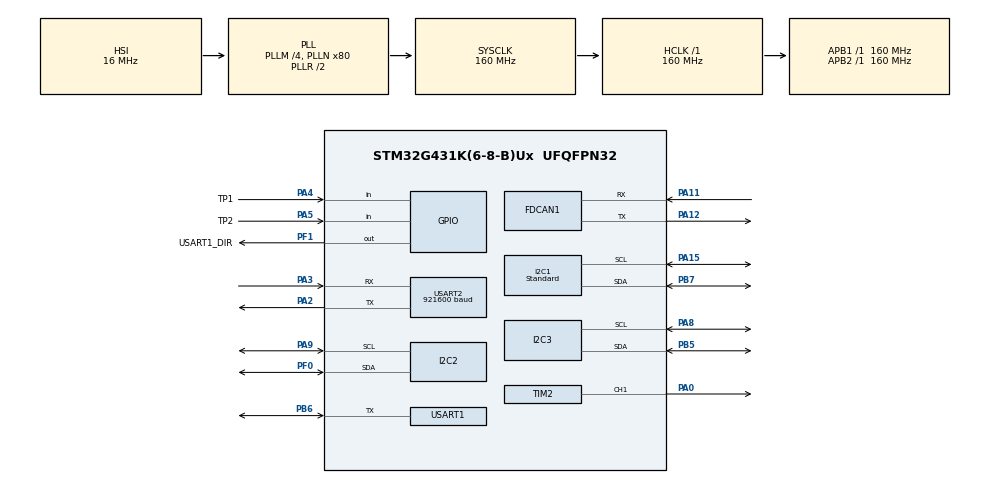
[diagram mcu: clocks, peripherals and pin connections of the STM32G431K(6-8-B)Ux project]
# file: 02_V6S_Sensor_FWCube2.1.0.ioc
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Dma.I2C1_RX.4.Direction=DMA_PERIPH_TO_MEMORY
Dma.I2C1_RX.4.EventEnable=DISABLE
Dma.I2C1_RX.4.Instance=DMA1_Channel5
Dma.I2C1_RX.4.MemDataAlignment=DMA_MDATAALIGN_BYTE
Dma.I2C1_RX.4.MemInc=DMA_MINC_ENABLE
Dma.I2C1_RX.4.Mode=DMA_NORMAL
Dma.I2C1_RX.4.PeriphDataAlignment=DMA_PDATAALIGN_BYTE
Dma.I2C1_RX.4.PeriphInc=DMA_PINC_DISABLE
Dma.I2C1_RX.4.Polarity=HAL_DMAMUX_REQ_GEN_RISING
Dma.I2C1_RX.4.Priority=DMA_PRIORITY_LOW
Dma.I2C1_RX.4.RequestNumber=1
Dma.I2C1_RX.4.SignalID=NONE
Dma.I2C1_RX.4.SyncEnable=DISABLE
Dma.I2C1_RX.4.SyncPolarity=HAL_DMAMUX_SYNC_NO_EVENT
Dma.I2C1_RX.4.SyncRequestNumber=1
Dma.I2C1_RX.4.SyncSignalID=NONE
Dma.I2C1_TX.5.Direction=DMA_MEMORY_TO_PERIPH
Dma.I2C1_TX.5.EventEnable=DISABLE
Dma.I2C1_TX.5.Instance=DMA1_Channel6
Dma.I2C1_TX.5.MemDataAlignment=DMA_MDATAALIGN_BYTE
Dma.I2C1_TX.5.MemInc=DMA_MINC_ENABLE
Dma.I2C1_TX.5.Mode=DMA_NORMAL
Dma.I2C1_TX.5.PeriphDataAlignment=DMA_PDATAALIGN_BYTE
Dma.I2C1_TX.5.PeriphInc=DMA_PINC_DISABLE
Dma.I2C1_TX.5.Polarity=HAL_DMAMUX_REQ_GEN_RISING
Dma.I2C1_TX.5.Priority=DMA_PRIORITY_LOW
Dma.I2C1_TX.5.RequestNumber=1
Dma.I2C1_TX.5.SignalID=NONE
Dma.I2C1_TX.5.SyncEnable=DISABLE
Dma.I2C1_TX.5.SyncPolarity=HAL_DMAMUX_SYNC_NO_EVENT
Dma.I2C1_TX.5.SyncRequestNumber=1
Dma.I2C1_TX.5.SyncSignalID=NONE
Dma.I2C2_RX.2.Direction=DMA_PERIPH_TO_MEMORY
Dma.I2C2_RX.2.EventEnable=DISABLE
Dma.I2C2_RX.2.Instance=DMA1_Channel3
Dma.I2C2_RX.2.MemDataAlignment=DMA_MDATAALIGN_BYTE
Dma.I2C2_RX.2.MemInc=DMA_MINC_ENABLE
Dma.I2C2_RX.2.Mode=DMA_NORMAL
Dma.I2C2_RX.2.PeriphDataAlignment=DMA_PDATAALIGN_BYTE
Dma.I2C2_RX.2.PeriphInc=DMA_PINC_DISABLE
Dma.I2C2_RX.2.Polarity=HAL_DMAMUX_REQ_GEN_RISING
Dma.I2C2_RX.2.Priority=DMA_PRIORITY_LOW
Dma.I2C2_RX.2.RequestNumber=1
Dma.I2C2_RX.2.SignalID=NONE
Dma.I2C2_RX.2.SyncEnable=DISABLE
Dma.I2C2_RX.2.SyncPolarity=HAL_DMAMUX_SYNC_NO_EVENT
Dma.I2C2_RX.2.SyncRequestNumber=1
Dma.I2C2_RX.2.SyncSignalID=NONE
Dma.I2C2_TX.3.Direction=DMA_MEMORY_TO_PERIPH
Dma.I2C2_TX.3.EventEnable=DISABLE
Dma.I2C2_TX.3.Instance=DMA1_Channel4
Dma.I2C2_TX.3.MemDataAlignment=DMA_MDATAALIGN_BYTE
Dma.I2C2_TX.3.MemInc=DMA_MINC_ENABLE
Dma.I2C2_TX.3.Mode=DMA_NORMAL
Dma.I2C2_TX.3.PeriphDataAlignment=DMA_PDATAALIGN_BYTE
Dma.I2C2_TX.3.PeriphInc=DMA_PINC_DISABLE
Dma.I2C2_TX.3.Polarity=HAL_DMAMUX_REQ_GEN_RISING
Dma.I2C2_TX.3.Priority=DMA_PRIORITY_LOW
Dma.I2C2_TX.3.RequestNumber=1
Dma.I2C2_TX.3.SignalID=NONE
Dma.I2C2_TX.3.SyncEnable=DISABLE
Dma.I2C2_TX.3.SyncPolarity=HAL_DMAMUX_SYNC_NO_EVENT
Dma.I2C2_TX.3.SyncRequestNumber=1
Dma.I2C2_TX.3.SyncSignalID=NONE
Dma.I2C3_RX.0.Direction=DMA_PERIPH_TO_MEMORY
Dma.I2C3_RX.0.EventEnable=DISABLE
Dma.I2C3_RX.0.Instance=DMA1_Channel1
Dma.I2C3_RX.0.MemDataAlignment=DMA_MDATAALIGN_BYTE
Dma.I2C3_RX.0.MemInc=DMA_MINC_ENABLE
Dma.I2C3_RX.0.Mode=DMA_NORMAL
Dma.I2C3_RX.0.PeriphDataAlignment=DMA_PDATAALIGN_BYTE
Dma.I2C3_RX.0.PeriphInc=DMA_PINC_DISABLE
Dma.I2C3_RX.0.Polarity=HAL_DMAMUX_REQ_GEN_RISING
Dma.I2C3_RX.0.Priority=DMA_PRIORITY_LOW
Dma.I2C3_RX.0.RequestNumber=1
Dma.I2C3_RX.0.SignalID=NONE
Dma.I2C3_RX.0.SyncEnable=DISABLE
Dma.I2C3_RX.0.SyncPolarity=HAL_DMAMUX_SYNC_NO_EVENT
Dma.I2C3_RX.0.SyncRequestNumber=1
Dma.I2C3_RX.0.SyncSignalID=NONE
Dma.I2C3_TX.1.Direction=DMA_MEMORY_TO_PERIPH
Dma.I2C3_TX.1.EventEnable=DISABLE
Dma.I2C3_TX.1.Instance=DMA1_Channel2
Dma.I2C3_TX.1.MemDataAlignment=DMA_MDATAALIGN_BYTE
Dma.I2C3_TX.1.MemInc=DMA_MINC_ENABLE
Dma.I2C3_TX.1.Mode=DMA_NORMAL
Dma.I2C3_TX.1.PeriphDataAlignment=DMA_PDATAALIGN_BYTE
Dma.I2C3_TX.1.PeriphInc=DMA_PINC_DISABLE
Dma.I2C3_TX.1.Polarity=HAL_DMAMUX_REQ_GEN_RISING
Dma.I2C3_TX.1.Priority=DMA_PRIORITY_LOW
Dma.I2C3_TX.1.RequestNumber=1
Dma.I2C3_TX.1.SignalID=NONE
Dma.I2C3_TX.1.SyncEnable=DISABLE
Dma.I2C3_TX.1.SyncPolarity=HAL_DMAMUX_SYNC_NO_EVENT
Dma.I2C3_TX.1.SyncRequestNumber=1
Dma.I2C3_TX.1.SyncSignalID=NONE
Dma.Request0=I2C3_RX
Dma.Request1=I2C3_TX
Dma.Request10=USART2_RX
Dma.Request2=I2C2_RX
Dma.Request3=I2C2_TX
Dma.Request4=I2C1_RX
Dma.Request5=I2C1_TX
Dma.Request6=USART1_RX
Dma.Request7=USART1_TX
Dma.Request8=TIM2_CH1
Dma.Request9=USART2_TX
Dma.TIM2_CH1.8.Direction=DMA_MEMORY_TO_PERIPH
Dma.TIM2_CH1.8.EventEnable=DISABLE
Dma.TIM2_CH1.8.Instance=DMA2_Channel3
Dma.TIM2_CH1.8.MemDataAlignment=DMA_MDATAALIGN_WORD
Dma.TIM2_CH1.8.MemInc=DMA_MINC_ENABLE
Dma.TIM2_CH1.8.Mode=DMA_NORMAL
Dma.TIM2_CH1.8.PeriphDataAlignment=DMA_PDATAALIGN_WORD
Dma.TIM2_CH1.8.PeriphInc=DMA_PINC_DISABLE
Dma.TIM2_CH1.8.Polarity=HAL_DMAMUX_REQ_GEN_RISING
Dma.TIM2_CH1.8.Priority=DMA_PRIORITY_LOW
Dma.TIM2_CH1.8.RequestNumber=1
Dma.TIM2_CH1.8.SignalID=NONE
Dma.TIM2_CH1.8.SyncEnable=DISABLE
Dma.TIM2_CH1.8.SyncPolarity=HAL_DMAMUX_SYNC_NO_EVENT
Dma.TIM2_CH1.8.SyncRequestNumber=1
Dma.TIM2_CH1.8.SyncSignalID=NONE
Dma.USART1_RX.6.Direction=DMA_PERIPH_TO_MEMORY
Dma.USART1_RX.6.EventEnable=DISABLE
Dma.USART1_RX.6.Instance=DMA2_Channel1
Dma.USART1_RX.6.MemDataAlignment=DMA_MDATAALIGN_BYTE
Dma.USART1_RX.6.MemInc=DMA_MINC_ENABLE
Dma.USART1_RX.6.Mode=DMA_NORMAL
Dma.USART1_RX.6.PeriphDataAlignment=DMA_PDATAALIGN_BYTE
Dma.USART1_RX.6.PeriphInc=DMA_PINC_DISABLE
Dma.USART1_RX.6.Polarity=HAL_DMAMUX_REQ_GEN_RISING
Dma.USART1_RX.6.Priority=DMA_PRIORITY_LOW
Dma.USART1_RX.6.RequestNumber=1
Dma.USART1_RX.6.SignalID=NONE
Dma.USART1_RX.6.SyncEnable=DISABLE
Dma.USART1_RX.6.SyncPolarity=HAL_DMAMUX_SYNC_NO_EVENT
Dma.USART1_RX.6.SyncRequestNumber=1
Dma.USART1_RX.6.SyncSignalID=NONE
Dma.USART1_TX.7.Direction=DMA_MEMORY_TO_PERIPH
Dma.USART1_TX.7.EventEnable=DISABLE
Dma.USART1_TX.7.Instance=DMA2_Channel2
Dma.USART1_TX.7.MemDataAlignment=DMA_MDATAALIGN_BYTE
Dma.USART1_TX.7.MemInc=DMA_MINC_ENABLE
Dma.USART1_TX.7.Mode=DMA_NORMAL
Dma.USART1_TX.7.PeriphDataAlignment=DMA_PDATAALIGN_BYTE
Dma.USART1_TX.7.PeriphInc=DMA_PINC_DISABLE
Dma.USART1_TX.7.Polarity=HAL_DMAMUX_REQ_GEN_RISING
Dma.USART1_TX.7.Priority=DMA_PRIORITY_LOW
Dma.USART1_TX.7.RequestNumber=1
Dma.USART1_TX.7.SignalID=NONE
Dma.USART1_TX.7.SyncEnable=DISABLE
Dma.USART1_TX.7.SyncPolarity=HAL_DMAMUX_SYNC_NO_EVENT
Dma.USART1_TX.7.SyncRequestNumber=1
Dma.USART1_TX.7.SyncSignalID=NONE
Dma.USART2_RX.10.Direction=DMA_PERIPH_TO_MEMORY
Dma.USART2_RX.10.EventEnable=DISABLE
Dma.USART2_RX.10.Instance=DMA2_Channel5
Dma.USART2_RX.10.MemDataAlignment=DMA_MDATAALIGN_BYTE
Dma.USART2_RX.10.MemInc=DMA_MINC_ENABLE
Dma.USART2_RX.10.Mode=DMA_NORMAL
Dma.USART2_RX.10.PeriphDataAlignment=DMA_PDATAALIGN_BYTE
Dma.USART2_RX.10.PeriphInc=DMA_PINC_DISABLE
Dma.USART2_RX.10.Polarity=HAL_DMAMUX_REQ_GEN_RISING
Dma.USART2_RX.10.Priority=DMA_PRIORITY_LOW
Dma.USART2_RX.10.RequestNumber=1
Dma.USART2_RX.10.SignalID=NONE
Dma.USART2_RX.10.SyncEnable=DISABLE
Dma.USART2_RX.10.SyncPolarity=HAL_DMAMUX_SYNC_NO_EVENT
Dma.USART2_RX.10.SyncRequestNumber=1
Dma.USART2_RX.10.SyncSignalID=NONE
Dma.USART2_TX.9.Direction=DMA_MEMORY_TO_PERIPH
Dma.USART2_TX.9.EventEnable=DISABLE
Dma.USART2_TX.9.Instance=DMA2_Channel4
Dma.USART2_TX.9.MemDataAlignment=DMA_MDATAALIGN_BYTE
Dma.USART2_TX.9.MemInc=DMA_MINC_ENABLE
Dma.USART2_TX.9.Mode=DMA_NORMAL
Dma.USART2_TX.9.PeriphDataAlignment=DMA_PDATAALIGN_BYTE
Dma.USART2_TX.9.PeriphInc=DMA_PINC_DISABLE
Dma.USART2_TX.9.Polarity=HAL_DMAMUX_REQ_GEN_RISING
Dma.USART2_TX.9.Priority=DMA_PRIORITY_LOW
Dma.USART2_TX.9.RequestNumber=1
Dma.USART2_TX.9.SignalID=NONE
Dma.USART2_TX.9.SyncEnable=DISABLE
Dma.USART2_TX.9.SyncPolarity=HAL_DMAMUX_SYNC_NO_EVENT
Dma.USART2_TX.9.SyncRequestNumber=1
Dma.USART2_TX.9.SyncSignalID=NONE
FDCAN1.AutoRetransmission=ENABLE
FDCAN1.CalculateBaudRateNominal=1000000
FDCAN1.CalculateTimeBitNominal=1000
FDCAN1.CalculateTimeQuantumNominal=12.5
FDCAN1.DataPrescaler=2
FDCAN1.DataSyncJumpWidth=4
FDCAN1.DataTimeSeg1=15
FDCAN1.DataTimeSeg2=4
FDCAN1.FrameFormat=FDCAN_FRAME_FD_BRS
FDCAN1.NominalPrescaler=2
FDCAN1.NominalSyncJumpWidth=16
FDCAN1.NominalTimeSeg1=63
FDCAN1.NominalTimeSeg2=16
I2C1.Analog_Filter=I2C_ANALOGFILTER_ENABLE
I2C1.CustomTiming=Enabled
I2C1.I2C_Fall_Time=10
I2C1.I2C_Rise_Time=100
I2C1.I2C_Speed_Mode=I2C_Standard
I2C1.Timing=0x40B285C2
I2C2.CustomTiming=Enabled
I2C2.I2C_Fall_Time=10
I2C2.Timing=0x40B285C2
I2C3.CustomTiming=Enabled
I2C3.Timing=0x40B285C2
IWDG.Prescaler=IWDG_PRESCALER_64
IWDG.Reload=2500
IWDG.Window=4095
Mcu.Family=STM32G4
Mcu.Name=STM32G431K(6-8-B)Ux
Mcu.Package=UFQFPN32
NVIC.DMA1_Channel1_IRQn=true\:0\:0\:false\:false\:true\:false\:true\:true
NVIC.DMA1_Channel2_IRQn=true\:0\:0\:false\:false\:true\:false\:true\:true
NVIC.DMA1_Channel3_IRQn=true\:0\:0\:false\:false\:true\:false\:true\:true
NVIC.DMA1_Channel4_IRQn=true\:0\:0\:false\:false\:true\:false\:true\:true
NVIC.DMA1_Channel5_IRQn=true\:0\:0\:false\:false\:true\:false\:true\:true
NVIC.DMA1_Channel6_IRQn=true\:0\:0\:false\:false\:true\:false\:true\:true
NVIC.DMA2_Channel1_IRQn=true\:0\:0\:false\:false\:true\:false\:true\:true
NVIC.DMA2_Channel2_IRQn=true\:0\:0\:false\:false\:true\:false\:true\:true
NVIC.DMA2_Channel3_IRQn=true\:0\:0\:false\:false\:true\:false\:true\:true
NVIC.DMA2_Channel4_IRQn=true\:0\:0\:false\:false\:true\:false\:true\:true
NVIC.DMA2_Channel5_IRQn=true\:0\:0\:false\:false\:true\:false\:true\:true
NVIC.PriorityGroup=NVIC_PRIORITYGROUP_4
NVIC.USART1_IRQn=true\:0\:0\:false\:false\:true\:false\:true\:true
NVIC.USART2_IRQn=true\:0\:0\:false\:false\:true\:false\:true\:true
PA0.GPIO_Speed=GPIO_SPEED_FREQ_HIGH
PA0.Signal=S_TIM2_CH1
PA11.GPIO_PuPd=GPIO_PULLUP
PA11.GPIO_Speed=GPIO_SPEED_FREQ_VERY_HIGH
PA11.Mode=FDCAN_Activate
PA11.Signal=FDCAN1_RX
PA12.GPIO_PuPd=GPIO_PULLUP
PA12.GPIO_Speed=GPIO_SPEED_FREQ_VERY_HIGH
PA12.Mode=FDCAN_Activate
PA12.Signal=FDCAN1_TX
PA13.Mode=Serial_Wire
PA13.Signal=SYS_JTMS-SWDIO
PA14.Mode=Serial_Wire
PA14.Signal=SYS_JTCK-SWCLK
PA15.Mode=I2C
PA15.Signal=I2C1_SCL
PA2.GPIO_PuPd=GPIO_PULLUP
PA2.GPIO_Speed=GPIO_SPEED_FREQ_VERY_HIGH
PA2.Mode=Asynchronous
PA2.Signal=USART2_TX
PA3.GPIO_PuPd=GPIO_PULLUP
PA3.GPIO_Speed=GPIO_SPEED_FREQ_VERY_HIGH
PA3.Mode=Asynchronous
PA3.Signal=USART2_RX
PA4.GPIO_Label=TP1
PA4.GPIO_PuPd=GPIO_PULLUP
PA4.Signal=GPIO_Input
PA5.GPIO_Label=TP2
PA5.GPIO_PuPd=GPIO_PULLUP
PA5.Signal=GPIO_Input
PA8.Mode=I2C
PA8.Signal=I2C3_SCL
PA9.Mode=I2C
PA9.Signal=I2C2_SCL
PB3.Signal=SYS_JTDO-SWO
PB5.Mode=I2C
PB5.Signal=I2C3_SDA
PB6.GPIO_ModeDefaultOD=GPIO_MODE_AF_PP
PB6.GPIO_PuPd=GPIO_PULLUP
PB6.GPIO_Speed=GPIO_SPEED_FREQ_VERY_HIGH
PB6.Mode=Half_duplex(single_wire_mode)
PB6.Signal=USART1_TX
PB7.Mode=I2C
PB7.Signal=I2C1_SDA
PF0-OSC_IN.Mode=I2C
PF0-OSC_IN.Signal=I2C2_SDA
PF1-OSC_OUT.GPIO_Label=USART1_DIR
PF1-OSC_OUT.Signal=GPIO_Output
ProjectManager.HeapSize=0x200
ProjectManager.StackSize=0x400
ProjectManager.TargetToolchain=STM32CubeIDE
RCC.ADC12Freq_Value=160000000
RCC.AHBFreq_Value=160000000
RCC.APB1Freq_Value=160000000
RCC.APB1TimFreq_Value=160000000
RCC.APB2Freq_Value=160000000
RCC.APB2TimFreq_Value=160000000
RCC.CortexFreq_Value=160000000
RCC.EXTERNAL_CLOCK_VALUE=12288000
RCC.HCLKFreq_Value=160000000
RCC.HSE_VALUE=8000000
RCC.HSI48_VALUE=48000000
RCC.HSI_VALUE=16000000
RCC.LSE_VALUE=32768
RCC.PLLM=RCC_PLLM_DIV4
RCC.PLLN=80
RCC.SYSCLKFreq_VALUE=160000000
RCC.SYSCLKSource=RCC_SYSCLKSOURCE_PLLCLK
RCC.USBFreq_Value=160000000
RCC.VCOOutputFreq_Value=320000000
SH.S_TIM2_CH1.0=TIM2_CH1,PWM Generation1 CH1
TIM2.Channel-PWM\ Generation1\ CH1=TIM_CHANNEL_1
TIM2.PeriodNoDither=200-1
USART1.BaudRate=4000000
USART1.VirtualMode-Half_duplex(single_wire_mode)=VM_ASYNC
USART2.BaudRate=921600
USART2.VirtualMode-Asynchronous=VM_ASYNC
VP_IWDG_VS_IWDG.Mode=IWDG_Activate
VP_SYS_VS_DBSignals.Mode=DisableDeadBatterySignals
board=custom

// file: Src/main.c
/* USER CODE BEGIN Header */
/**
  ******************************************************************************
  * @file           : main.c
  * @brief          : Main program body
  ******************************************************************************
  * @attention
  *
  * Copyright (c) 2026 STMicroelectronics.
  * All rights reserved.
  *
  * This software is licensed under terms that can be found in the LICENSE file
  * in the root directory of this software component.
  * If no LICENSE file comes with this software, it is provided AS-IS.
  *
  ******************************************************************************
  */
/* USER CODE END Header */
#include "main.h"

/* USER CODE BEGIN Includes */
#include "prototypes.h"
#include "sensor_service_i2c.h"
#include "sensor_dxl_service.h"  /* */
#include "ws2812.h"               /* */
#include "term_print.h"
#include "env_flash.h"            /* */
/* USER CODE END Includes */

FDCAN_HandleTypeDef hfdcan1;

I2C_HandleTypeDef hi2c1;
I2C_HandleTypeDef hi2c2;
I2C_HandleTypeDef hi2c3;
DMA_HandleTypeDef hdma_i2c1_rx;
DMA_HandleTypeDef hdma_i2c1_tx;
DMA_HandleTypeDef hdma_i2c2_rx;
DMA_HandleTypeDef hdma_i2c2_tx;
DMA_HandleTypeDef hdma_i2c3_rx;
DMA_HandleTypeDef hdma_i2c3_tx;

IWDG_HandleTypeDef hiwdg;

TIM_HandleTypeDef htim2;
DMA_HandleTypeDef hdma_tim2_ch1;

UART_HandleTypeDef huart1;
UART_HandleTypeDef huart2;
DMA_HandleTypeDef hdma_usart1_rx;
DMA_HandleTypeDef hdma_usart1_tx;
DMA_HandleTypeDef hdma_usart2_tx;
DMA_HandleTypeDef hdma_usart2_rx;

/* USER CODE BEGIN PV */
static uint32_t s_led_last_value; /* */
/* USER CODE END PV */

void SystemClock_Config(void);
static void MX_GPIO_Init(void);
static void MX_DMA_Init(void);
static void MX_I2C1_Init(void);
static void MX_I2C2_Init(void);
static void MX_I2C3_Init(void);
static void MX_USART1_UART_Init(void);
static void MX_USART2_UART_Init(void);
static void MX_TIM2_Init(void);
static void MX_FDCAN1_Init(void);
static void MX_IWDG_Init(void);

/* USER CODE BEGIN 0 */
/* Fallback "resting-state" reading used for the boot indicator and for the
 * I2C1-unavailable fallback color, so a watchdog-reset reboot or a sensor
 * fault renders the same steady blue as normal idle operation instead of
 * standing out (rainbow splash / LED-off). By Rick 2026-06-30 */
#define SENSOR_LED_DEFAULT_HPA (1020U)

static void sensor_led_color_for_hpa(uint32_t val, uint8_t *r, uint8_t *g, uint8_t *b) /* */
{
  const uint32_t min_hpa = 1000U;  /* I2C1 sensor real band: rest~1010, max~1200. */
  const uint32_t max_hpa = 1200U;  /* full blue->green->red sweep over 1000~1200hPa (was 900~1600). */
  const uint32_t max_led = 60U;
  uint32_t span;
  uint32_t mid_hpa;

  if (val < min_hpa) { val = min_hpa; }
  else if (val > max_hpa) { val = max_hpa; }

  span = max_hpa - min_hpa;
  mid_hpa = min_hpa + (span / 2U);
  if (val <= mid_hpa) {
    uint32_t low_span = mid_hpa - min_hpa;
    *r = 0U;
    *g = (uint8_t)(((val - min_hpa) * max_led) / low_span);
    *b = (uint8_t)(((mid_hpa - val) * max_led) / low_span);
  } else {
    uint32_t high_span = max_hpa - mid_hpa;
    *r = (uint8_t)(((val - mid_hpa) * max_led) / high_span);
    *g = (uint8_t)(((max_hpa - val) * max_led) / high_span);
    *b = 0U;
  }
}

static void sensor_led_service(void) /* */
{
  uint32_t val;
  uint8_t r;
  uint8_t g;
  uint8_t b;

  if (ws2812_is_test_mode() != 0U) { return; }  /* rainbow active. */

  if ((g_sensor[0].present == 0U) || (g_sensor[0].data_valid == 0U)) {
    /* I2C1 not available: show the same resting-state blue as normal idle
       operation instead of turning the LED off, so this fault isn't
       visually distinguishable from ordinary operation. By Rick 2026-06-30 */
    val = SENSOR_LED_DEFAULT_HPA;
  } else {
    val = g_sensor[0].value_hpa;
  }

  if (s_led_last_value == val) { return; }
  s_led_last_value = val;

  sensor_led_color_for_hpa(val, &r, &g, &b);
  ws2812_set_rgb(r, g, b);
}
/* USER CODE END 0 */

int main(void)
{

  /* MCU Configuration--------------------------------------------------------*/

  /* Reset of all peripherals, Initializes the Flash interface and the Systick. */
  HAL_Init();

  /* Configure the system clock */
  SystemClock_Config();

  /* Initialize all configured peripherals */
  MX_GPIO_Init();
  MX_DMA_Init();
  MX_I2C1_Init();
  MX_I2C2_Init();
  MX_I2C3_Init();
  MX_USART1_UART_Init();
  MX_USART2_UART_Init();
  MX_TIM2_Init();
  MX_FDCAN1_Init();
  MX_IWDG_Init();
  /* USER CODE BEGIN 2 */
  init_terminal_buffers();
  init_debug_history();
  env_flash_init();
  print_reset_info();
  term_printf(TPID_DEBUG, "[02] V6S G431 sensor firmware start\r\n");
  term_printf(TPID_DEBUG, "[02] UART1=DXL half-duplex %dMbps SN74LXC2T45(PF1), UART2=debug %dbps\r\n", huart1.Init.BaudRate/1000000, huart2.Init.BaudRate); /* */
  term_printf(TPID_DEBUG, "[02] Build Date : %s (%s)\r\n", __DATE__, __TIME__);
  start_uart_rx_interrupt();
  HAL_IWDG_Refresh(&hiwdg); /* boot margin before sensor init. */
  sensor_service_i2c_init();
  HAL_IWDG_Refresh(&hiwdg); /* sensor init margin. */
  /* Sensor data path selected by SENSOR_TRANSPORT in sensor_service_i2c.h:
   *   SENSOR_TRANSPORT_UART  -> UART1 DMA push (legacy)
   *   SENSOR_TRANSPORT_CAN   -> FDCAN1 (PA11/PA12)
   *   SENSOR_TRANSPORT_BOTH  -> both (bring-up)
   *   SENSOR_TRANSPORT_DXL   -> Dynamixel Protocol 2.0 slave (default)     */
#if SENSOR_TRANSPORT_USE_CAN
  can_sensor_tx_init();
#endif
  /* USART1_DIR default LOW = RX. DXL slave arms RX in 10ms slot. */
  HAL_GPIO_WritePin(USART1_DIR_GPIO_Port, USART1_DIR_Pin, GPIO_PIN_RESET);
  ws2812_init();
  /* Boot indicator: steady resting-state blue (same color/formula as normal
     idle sensor reading) instead of the rainbow sweep, so a watchdog-reset
     reboot can't be told apart from a normal power-on just by looking at the
     LED. ws2812_boot_splash() is kept in ws2812.c for optional manual use
     but is no longer called from the boot path. By Rick 2026-06-30 */
  {
    uint8_t boot_r, boot_g, boot_b;
    sensor_led_color_for_hpa(SENSOR_LED_DEFAULT_HPA, &boot_r, &boot_g, &boot_b);
    ws2812_set_rgb(boot_r, boot_g, boot_b);
  }
  /* USER CODE END 2 */

  /* Infinite loop */
  while (1)
  {

    /* USER CODE BEGIN 3 */
    static uint32_t prev_1ms  = 0U;
    static uint32_t prev_5ms  = 0U;
    static uint32_t prev_10ms = 0U;
#if SENSOR_TRANSPORT_USE_DXL
    static uint8_t dxl_started = 0U; /* late start after IWDG. */
#endif
    uint32_t now = HAL_GetTick();
    uint32_t dt;

    /* ------------------------------------------------------------------ */
    /* 1 ms slot: sensor read, UART push, CAN push, DXL poll              */
    /* ------------------------------------------------------------------ */
    dt = now - prev_1ms;
    if (dt >= 1U) {
        if (dt > 1U) { g_loop_1ms_overrun++; }
        prev_1ms = now;
        g_loop_1ms_cnt++;

        sensor_service_i2c_poll();
        uart_tx_service();
#if SENSOR_TRANSPORT_USE_CAN
        can_sensor_tx_service();
#endif
#if SENSOR_TRANSPORT_USE_DXL
        if (dxl_started != 0U) {
            sensor_dxl_service_poll();
        }
#endif
    }

    /* ------------------------------------------------------------------ */
    /* 5 ms slot: WS2812 LED sensor color / rainbow                        */
    /* ------------------------------------------------------------------ */
    dt = now - prev_5ms;
    if (dt >= 5U) {
        prev_5ms = now;
        ws2812_rainbow_service(); /* test mode rainbow. */
        sensor_led_service();     /* sensor1 color. */
    }

    /* ------------------------------------------------------------------ */
    /* 10 ms slot: debug terminal, monitor, watchdog, DXL late init        */
    /* ------------------------------------------------------------------ */
    dt = now - prev_10ms;
    if (dt >= 10U) {
        prev_10ms = now;
        debug_feature_service(TPID_DEBUG);
        monitor_service(TPID_DEBUG);
        HAL_IWDG_Refresh(&hiwdg);
#if SENSOR_TRANSPORT_USE_DXL
        if (dxl_started == 0U) {
            sensor_dxl_service_init(); /* arm after watchdog start. */
            dxl_started = 1U;
        }
#endif
    }
  }
  /* USER CODE END 3 */
}

void SystemClock_Config(void)
{
  RCC_OscInitTypeDef RCC_OscInitStruct = {0};
  RCC_ClkInitTypeDef RCC_ClkInitStruct = {0};

  /** Configure the main internal regulator output voltage
  */
  HAL_PWREx_ControlVoltageScaling(PWR_REGULATOR_VOLTAGE_SCALE1_BOOST);

  /** Initializes the RCC Oscillators according to the specified parameters
  * in the RCC_OscInitTypeDef structure.
  */
  RCC_OscInitStruct.OscillatorType = RCC_OSCILLATORTYPE_HSI|RCC_OSCILLATORTYPE_LSI;
  RCC_OscInitStruct.HSIState = RCC_HSI_ON;
  RCC_OscInitStruct.HSICalibrationValue = RCC_HSICALIBRATION_DEFAULT;
  RCC_OscInitStruct.LSIState = RCC_LSI_ON;
  RCC_OscInitStruct.PLL.PLLState = RCC_PLL_ON;
  RCC_OscInitStruct.PLL.PLLSource = RCC_PLLSOURCE_HSI;
  RCC_OscInitStruct.PLL.PLLM = RCC_PLLM_DIV4;
  RCC_OscInitStruct.PLL.PLLN = 80;
  RCC_OscInitStruct.PLL.PLLP = RCC_PLLP_DIV2;
  RCC_OscInitStruct.PLL.PLLQ = RCC_PLLQ_DIV2;
  RCC_OscInitStruct.PLL.PLLR = RCC_PLLR_DIV2;
  if (HAL_RCC_OscConfig(&RCC_OscInitStruct) != HAL_OK)
  {
    Error_Handler();
  }

  /** Initializes the CPU, AHB and APB buses clocks
  */
  RCC_ClkInitStruct.ClockType = RCC_CLOCKTYPE_HCLK|RCC_CLOCKTYPE_SYSCLK
                              |RCC_CLOCKTYPE_PCLK1|RCC_CLOCKTYPE_PCLK2;
  RCC_ClkInitStruct.SYSCLKSource = RCC_SYSCLKSOURCE_PLLCLK;
  RCC_ClkInitStruct.AHBCLKDivider = RCC_SYSCLK_DIV1;
  RCC_ClkInitStruct.APB1CLKDivider = RCC_HCLK_DIV1;
  RCC_ClkInitStruct.APB2CLKDivider = RCC_HCLK_DIV1;

  if (HAL_RCC_ClockConfig(&RCC_ClkInitStruct, FLASH_LATENCY_4) != HAL_OK)
  {
    Error_Handler();
  }
}

static void MX_FDCAN1_Init(void)
{

  hfdcan1.Instance = FDCAN1;
  hfdcan1.Init.ClockDivider = FDCAN_CLOCK_DIV1;
  hfdcan1.Init.FrameFormat = FDCAN_FRAME_FD_BRS;
  hfdcan1.Init.Mode = FDCAN_MODE_NORMAL;
  hfdcan1.Init.AutoRetransmission = ENABLE;
  hfdcan1.Init.TransmitPause = DISABLE;
  hfdcan1.Init.ProtocolException = DISABLE;
  hfdcan1.Init.NominalPrescaler = 2;
  hfdcan1.Init.NominalSyncJumpWidth = 16;
  hfdcan1.Init.NominalTimeSeg1 = 63;
  hfdcan1.Init.NominalTimeSeg2 = 16;
  hfdcan1.Init.DataPrescaler = 2;
  hfdcan1.Init.DataSyncJumpWidth = 4;
  hfdcan1.Init.DataTimeSeg1 = 15;
  hfdcan1.Init.DataTimeSeg2 = 4;
  hfdcan1.Init.StdFiltersNbr = 0;
  hfdcan1.Init.ExtFiltersNbr = 0;
  hfdcan1.Init.TxFifoQueueMode = FDCAN_TX_FIFO_OPERATION;
  if (HAL_FDCAN_Init(&hfdcan1) != HAL_OK)
  {
    Error_Handler();
  }

}

static void MX_I2C1_Init(void)
{

  hi2c1.Instance = I2C1;
  hi2c1.Init.Timing = 0x40B285C2;
  hi2c1.Init.OwnAddress1 = 0;
  hi2c1.Init.AddressingMode = I2C_ADDRESSINGMODE_7BIT;
  hi2c1.Init.DualAddressMode = I2C_DUALADDRESS_DISABLE;
  hi2c1.Init.OwnAddress2 = 0;
  hi2c1.Init.OwnAddress2Masks = I2C_OA2_NOMASK;
  hi2c1.Init.GeneralCallMode = I2C_GENERALCALL_DISABLE;
  hi2c1.Init.NoStretchMode = I2C_NOSTRETCH_DISABLE;
  if (HAL_I2C_Init(&hi2c1) != HAL_OK)
  {
    Error_Handler();
  }

  /** Configure Analogue filter
  */
  if (HAL_I2CEx_ConfigAnalogFilter(&hi2c1, I2C_ANALOGFILTER_ENABLE) != HAL_OK)
  {
    Error_Handler();
  }

  /** Configure Digital filter
  */
  if (HAL_I2CEx_ConfigDigitalFilter(&hi2c1, 0) != HAL_OK)
  {
    Error_Handler();
  }

}

static void MX_I2C2_Init(void)
{

  hi2c2.Instance = I2C2;
  hi2c2.Init.Timing = 0x40B285C2;
  hi2c2.Init.OwnAddress1 = 0;
  hi2c2.Init.AddressingMode = I2C_ADDRESSINGMODE_7BIT;
  hi2c2.Init.DualAddressMode = I2C_DUALADDRESS_DISABLE;
  hi2c2.Init.OwnAddress2 = 0;
  hi2c2.Init.OwnAddress2Masks = I2C_OA2_NOMASK;
  hi2c2.Init.GeneralCallMode = I2C_GENERALCALL_DISABLE;
  hi2c2.Init.NoStretchMode = I2C_NOSTRETCH_DISABLE;
  if (HAL_I2C_Init(&hi2c2) != HAL_OK)
  {
    Error_Handler();
  }

  /** Configure Analogue filter
  */
  if (HAL_I2CEx_ConfigAnalogFilter(&hi2c2, I2C_ANALOGFILTER_ENABLE) != HAL_OK)
  {
    Error_Handler();
  }

  /** Configure Digital filter
  */
  if (HAL_I2CEx_ConfigDigitalFilter(&hi2c2, 0) != HAL_OK)
  {
    Error_Handler();
  }

}

static void MX_I2C3_Init(void)
{

  hi2c3.Instance = I2C3;
  hi2c3.Init.Timing = 0x40B285C2;
  hi2c3.Init.OwnAddress1 = 0;
  hi2c3.Init.AddressingMode = I2C_ADDRESSINGMODE_7BIT;
  hi2c3.Init.DualAddressMode = I2C_DUALADDRESS_DISABLE;
  hi2c3.Init.OwnAddress2 = 0;
  hi2c3.Init.OwnAddress2Masks = I2C_OA2_NOMASK;
  hi2c3.Init.GeneralCallMode = I2C_GENERALCALL_DISABLE;
  hi2c3.Init.NoStretchMode = I2C_NOSTRETCH_DISABLE;
  if (HAL_I2C_Init(&hi2c3) != HAL_OK)
  {
    Error_Handler();
  }

  /** Configure Analogue filter
  */
  if (HAL_I2CEx_ConfigAnalogFilter(&hi2c3, I2C_ANALOGFILTER_ENABLE) != HAL_OK)
  {
    Error_Handler();
  }

  /** Configure Digital filter
  */
  if (HAL_I2CEx_ConfigDigitalFilter(&hi2c3, 0) != HAL_OK)
  {
    Error_Handler();
  }

}

static void MX_IWDG_Init(void)
{

  hiwdg.Instance = IWDG;
  hiwdg.Init.Prescaler = IWDG_PRESCALER_64;
  hiwdg.Init.Window = 4095;
  hiwdg.Init.Reload = 2500;
  if (HAL_IWDG_Init(&hiwdg) != HAL_OK)
  {
    Error_Handler();
  }

}

static void MX_TIM2_Init(void)
{

  TIM_MasterConfigTypeDef sMasterConfig = {0};
  TIM_OC_InitTypeDef sConfigOC = {0};

  htim2.Instance = TIM2;
  htim2.Init.Prescaler = 0;
  htim2.Init.CounterMode = TIM_COUNTERMODE_UP;
  htim2.Init.Period = 199;
  htim2.Init.ClockDivision = TIM_CLOCKDIVISION_DIV1;
  htim2.Init.AutoReloadPreload = TIM_AUTORELOAD_PRELOAD_DISABLE;
  if (HAL_TIM_PWM_Init(&htim2) != HAL_OK)
  {
    Error_Handler();
  }
  sMasterConfig.MasterOutputTrigger = TIM_TRGO_RESET;
  sMasterConfig.MasterSlaveMode = TIM_MASTERSLAVEMODE_DISABLE;
  if (HAL_TIMEx_MasterConfigSynchronization(&htim2, &sMasterConfig) != HAL_OK)
  {
    Error_Handler();
  }
  sConfigOC.OCMode = TIM_OCMODE_PWM1;
  sConfigOC.Pulse = 0;
  sConfigOC.OCPolarity = TIM_OCPOLARITY_HIGH;
  sConfigOC.OCFastMode = TIM_OCFAST_DISABLE;
  if (HAL_TIM_PWM_ConfigChannel(&htim2, &sConfigOC, TIM_CHANNEL_1) != HAL_OK)
  {
    Error_Handler();
  }
  HAL_TIM_MspPostInit(&htim2);

}

static void MX_USART1_UART_Init(void)
{

  huart1.Instance = USART1;
  huart1.Init.BaudRate = 4000000;
  huart1.Init.WordLength = UART_WORDLENGTH_8B;
  huart1.Init.StopBits = UART_STOPBITS_1;
  huart1.Init.Parity = UART_PARITY_NONE;
  huart1.Init.Mode = UART_MODE_TX_RX;
  huart1.Init.HwFlowCtl = UART_HWCONTROL_NONE;
  huart1.Init.OverSampling = UART_OVERSAMPLING_16;
  huart1.Init.OneBitSampling = UART_ONE_BIT_SAMPLE_DISABLE;
  huart1.Init.ClockPrescaler = UART_PRESCALER_DIV1;
  huart1.AdvancedInit.AdvFeatureInit = UART_ADVFEATURE_NO_INIT;
  if (HAL_HalfDuplex_Init(&huart1) != HAL_OK)
  {
    Error_Handler();
  }
  if (HAL_UARTEx_SetTxFifoThreshold(&huart1, UART_TXFIFO_THRESHOLD_1_8) != HAL_OK)
  {
    Error_Handler();
  }
  if (HAL_UARTEx_SetRxFifoThreshold(&huart1, UART_RXFIFO_THRESHOLD_1_8) != HAL_OK)
  {
    Error_Handler();
  }
  if (HAL_UARTEx_DisableFifoMode(&huart1) != HAL_OK)
  {
    Error_Handler();
  }

}

static void MX_USART2_UART_Init(void)
{

  huart2.Instance = USART2;
  huart2.Init.BaudRate = 921600;
  huart2.Init.WordLength = UART_WORDLENGTH_8B;
  huart2.Init.StopBits = UART_STOPBITS_1;
  huart2.Init.Parity = UART_PARITY_NONE;
  huart2.Init.Mode = UART_MODE_TX_RX;
  huart2.Init.HwFlowCtl = UART_HWCONTROL_NONE;
  huart2.Init.OverSampling = UART_OVERSAMPLING_16;
  huart2.Init.OneBitSampling = UART_ONE_BIT_SAMPLE_DISABLE;
  huart2.Init.ClockPrescaler = UART_PRESCALER_DIV1;
  huart2.AdvancedInit.AdvFeatureInit = UART_ADVFEATURE_NO_INIT;
  if (HAL_UART_Init(&huart2) != HAL_OK)
  {
    Error_Handler();
  }
  if (HAL_UARTEx_SetTxFifoThreshold(&huart2, UART_TXFIFO_THRESHOLD_1_8) != HAL_OK)
  {
    Error_Handler();
  }
  if (HAL_UARTEx_SetRxFifoThreshold(&huart2, UART_RXFIFO_THRESHOLD_1_8) != HAL_OK)
  {
    Error_Handler();
  }
  if (HAL_UARTEx_DisableFifoMode(&huart2) != HAL_OK)
  {
    Error_Handler();
  }

}

static void MX_DMA_Init(void)
{

  /* DMA controller clock enable */
  __HAL_RCC_DMAMUX1_CLK_ENABLE();
  __HAL_RCC_DMA1_CLK_ENABLE();
  __HAL_RCC_DMA2_CLK_ENABLE();

  /* DMA interrupt init */
  /* DMA1_Channel1_IRQn interrupt configuration */
  HAL_NVIC_SetPriority(DMA1_Channel1_IRQn, 0, 0);
  HAL_NVIC_EnableIRQ(DMA1_Channel1_IRQn);
  /* DMA1_Channel2_IRQn interrupt configuration */
  HAL_NVIC_SetPriority(DMA1_Channel2_IRQn, 0, 0);
  HAL_NVIC_EnableIRQ(DMA1_Channel2_IRQn);
  /* DMA1_Channel3_IRQn interrupt configuration */
  HAL_NVIC_SetPriority(DMA1_Channel3_IRQn, 0, 0);
  HAL_NVIC_EnableIRQ(DMA1_Channel3_IRQn);
  /* DMA1_Channel4_IRQn interrupt configuration */
  HAL_NVIC_SetPriority(DMA1_Channel4_IRQn, 0, 0);
  HAL_NVIC_EnableIRQ(DMA1_Channel4_IRQn);
  /* DMA1_Channel5_IRQn interrupt configuration */
  HAL_NVIC_SetPriority(DMA1_Channel5_IRQn, 0, 0);
  HAL_NVIC_EnableIRQ(DMA1_Channel5_IRQn);
  /* DMA1_Channel6_IRQn interrupt configuration */
  HAL_NVIC_SetPriority(DMA1_Channel6_IRQn, 0, 0);
  HAL_NVIC_EnableIRQ(DMA1_Channel6_IRQn);
  /* DMA2_Channel1_IRQn interrupt configuration */
  HAL_NVIC_SetPriority(DMA2_Channel1_IRQn, 0, 0);
  HAL_NVIC_EnableIRQ(DMA2_Channel1_IRQn);
  /* DMA2_Channel2_IRQn interrupt configuration */
  HAL_NVIC_SetPriority(DMA2_Channel2_IRQn, 0, 0);
  HAL_NVIC_EnableIRQ(DMA2_Channel2_IRQn);
  /* DMA2_Channel3_IRQn interrupt configuration */
  HAL_NVIC_SetPriority(DMA2_Channel3_IRQn, 0, 0);
  HAL_NVIC_EnableIRQ(DMA2_Channel3_IRQn);
  /* DMA2_Channel4_IRQn interrupt configuration */
  HAL_NVIC_SetPriority(DMA2_Channel4_IRQn, 0, 0);
  HAL_NVIC_EnableIRQ(DMA2_Channel4_IRQn);
  /* DMA2_Channel5_IRQn interrupt configuration */
  HAL_NVIC_SetPriority(DMA2_Channel5_IRQn, 0, 0);
  HAL_NVIC_EnableIRQ(DMA2_Channel5_IRQn);

}

static void MX_GPIO_Init(void)
{
  GPIO_InitTypeDef GPIO_InitStruct = {0};

  /* GPIO Ports Clock Enable */
  __HAL_RCC_GPIOF_CLK_ENABLE();
  __HAL_RCC_GPIOA_CLK_ENABLE();
  __HAL_RCC_GPIOB_CLK_ENABLE();

  /*Configure GPIO pin Output Level */
  HAL_GPIO_WritePin(USART1_DIR_GPIO_Port, USART1_DIR_Pin, GPIO_PIN_RESET);

  /*Configure GPIO pin : USART1_DIR_Pin */
  GPIO_InitStruct.Pin = USART1_DIR_Pin;
  GPIO_InitStruct.Mode = GPIO_MODE_OUTPUT_PP;
  GPIO_InitStruct.Pull = GPIO_NOPULL;
  GPIO_InitStruct.Speed = GPIO_SPEED_FREQ_LOW;
  HAL_GPIO_Init(USART1_DIR_GPIO_Port, &GPIO_InitStruct);

  /*Configure GPIO pins : TP1_Pin TP2_Pin */
  GPIO_InitStruct.Pin = TP1_Pin|TP2_Pin;
  GPIO_InitStruct.Mode = GPIO_MODE_INPUT;
  GPIO_InitStruct.Pull = GPIO_PULLUP;
  HAL_GPIO_Init(GPIOA, &GPIO_InitStruct);

}

void Error_Handler(void)
{
  __disable_irq();
  while (1)
  {
  }
}
